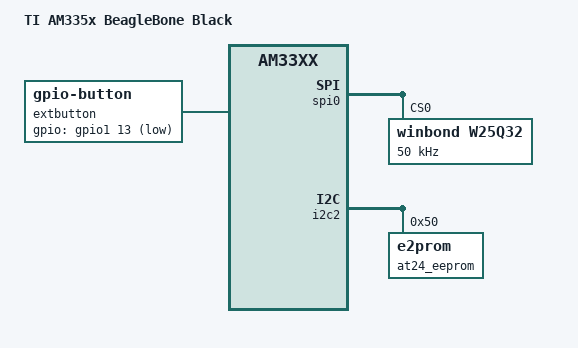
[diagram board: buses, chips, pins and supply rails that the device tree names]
// SPDX-License-Identifier: GPL-2.0-only
/*
 * Copyright (C) 2012 Texas Instruments Incorporated - http://www.ti.com/
 */
/dts-v1/;

#include "am33xx.dtsi"
#include "am335x-bone-common.dtsi"
#include "am335x-boneblack-common.dtsi"

/ {
	model = "TI AM335x BeagleBone Black";
	compatible = "ti,am335x-bone-black", "ti,am335x-bone", "ti,am33xx";
};

&cpu0_opp_table {
	/*
	 * All PG 2.0 silicon may not support 1GHz but some of the early
	 * BeagleBone Blacks have PG 2.0 silicon which is guaranteed
	 * to support 1GHz OPP so enable it for PG 2.0 on this board.
	 */
	oppnitro-1000000000 {
		opp-supported-hw = <0x06 0x0100>;
	};
};

&am33xx_pinmux {
        spi0_pins: pinmux_spi0_pins {
                pinctrl-single,pins = <
                        0x150 (PIN_INPUT_PULLUP | MUX_MODE0)  /* spi0_sclk, INPUT_PULLUP | MODE0(0x30) */
                        0x154 (PIN_INPUT_PULLUP | MUX_MODE0)   /* spi0_d0, INPUT_PULLUP | MODE0 (0x30) */
                        0x158 (PIN_OUTPUT_PULLUP | MUX_MODE0)  /* spi0_d1, OUTPUT_PULLUP | MODE0(0x10) */
                        0x15c (PIN_OUTPUT_PULLUP | MUX_MODE0)  /* spi0_cs0, OUTPUT_PULLUP | MODE0(0x10) */
                >;
        };
};

&spi0 {
        pinctrl-names = "default";
        pinctrl-0 = <&spi0_pins>;

        status = "okay";

        /*DT node for w25q32 spi flash chip*/
        w25q32: w25q32@0 {
                compatible = "winbond,w25q32";
                spi-max-frequency = <50000>;
                reg = <0x0>;
                size = <4194304>;       /*4 MBytes*/
                pagesize = <256>;
                address-width = <24>;   /*In bits*/
        };
};


&i2c2 {
        status = "okay";

        /*Node for at25c32 eeprom*/
        at24_eeprom: at24@50 {
                compatible = "e2prom";
                reg = <0x50>;
                size = <4096>;          /*4KBytes*/
                pagesize = <32>;
                address-width = <12>;   /*In bits*/
        };
};

/ {
        extbutton {
                compatible = "gpio-button";
                gpios = <&gpio1 13 GPIO_ACTIVE_LOW>;
        };

};

